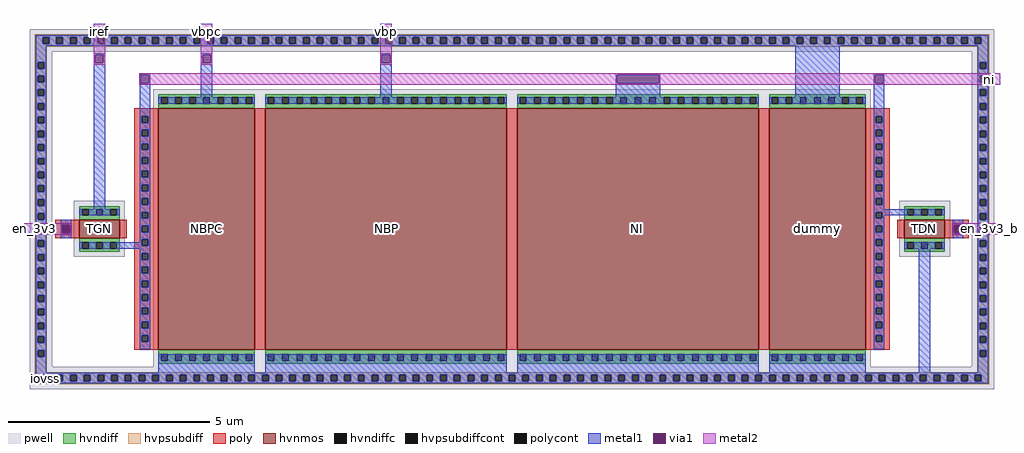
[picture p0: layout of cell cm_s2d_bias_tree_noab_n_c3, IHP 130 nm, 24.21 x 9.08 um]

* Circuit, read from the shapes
.subckt cm_s2d_bias_tree_noab_n_c3 iovss ni vbpc vbp iref en_3v3 en_3v3_b
XM1 iref en_3v3 ni iovss sg13_hv_nmos w=1u l=0.45u
XM2 vbpc ni iovss iovss sg13_hv_nmos w=2.4u l=6u
XM3 vbp ni iovss iovss sg13_hv_nmos w=6u l=6u
XM4 ni ni iovss iovss sg13_hv_nmos w=6u l=6u
XM5 iovss ni iovss iovss sg13_hv_nmos w=2.4u l=6u
XM6 ni en_3v3_b iovss iovss sg13_hv_nmos w=1u l=0.45u
.ends

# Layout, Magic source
magic
tech ihp-sg13cmos5l
magscale 1 2
<< pwell >>
rect -638 1547 4148 1659
rect -638 -16 -526 1547
rect 4036 -16 4148 1547
rect -638 -128 4148 -16
<< hvpsubdiff >>
rect -612 1619 4122 1633
rect -612 1587 -573 1619
rect -541 1587 -505 1619
rect -473 1587 -437 1619
rect -405 1587 -369 1619
rect -337 1587 -301 1619
rect -269 1587 -233 1619
rect -201 1587 -165 1619
rect -133 1587 -97 1619
rect -65 1587 -29 1619
rect 3 1587 39 1619
rect 71 1587 107 1619
rect 139 1587 175 1619
rect 207 1587 243 1619
rect 275 1587 311 1619
rect 343 1587 379 1619
rect 411 1587 447 1619
rect 479 1587 515 1619
rect 547 1587 583 1619
rect 615 1587 651 1619
rect 683 1587 719 1619
rect 751 1587 787 1619
rect 819 1587 855 1619
rect 887 1587 923 1619
rect 955 1587 991 1619
rect 1023 1587 1059 1619
rect 1091 1587 1127 1619
rect 1159 1587 1195 1619
rect 1227 1587 1263 1619
rect 1295 1587 1331 1619
rect 1363 1587 1399 1619
rect 1431 1587 1467 1619
rect 1499 1587 1535 1619
rect 1567 1587 1603 1619
rect 1635 1587 1671 1619
rect 1703 1587 1739 1619
rect 1771 1587 1807 1619
rect 1839 1587 1875 1619
rect 1907 1587 1943 1619
rect 1975 1587 2011 1619
rect 2043 1587 2079 1619
rect 2111 1587 2147 1619
rect 2179 1587 2215 1619
rect 2247 1587 2283 1619
rect 2315 1587 2351 1619
rect 2383 1587 2419 1619
rect 2451 1587 2487 1619
rect 2519 1587 2555 1619
rect 2587 1587 2623 1619
rect 2655 1587 2691 1619
rect 2723 1587 2759 1619
rect 2791 1587 2827 1619
rect 2859 1587 2895 1619
rect 2927 1587 2963 1619
rect 2995 1587 3031 1619
rect 3063 1587 3099 1619
rect 3131 1587 3167 1619
rect 3199 1587 3235 1619
rect 3267 1587 3303 1619
rect 3335 1587 3371 1619
rect 3403 1587 3439 1619
rect 3471 1587 3507 1619
rect 3539 1587 3575 1619
rect 3607 1587 3643 1619
rect 3675 1587 3711 1619
rect 3743 1587 3779 1619
rect 3811 1587 3847 1619
rect 3879 1587 3915 1619
rect 3947 1587 3983 1619
rect 4015 1587 4051 1619
rect 4083 1587 4122 1619
rect -612 1573 4122 1587
rect -612 1496 -552 1573
rect -612 1464 -598 1496
rect -566 1464 -552 1496
rect -612 1428 -552 1464
rect -612 1396 -598 1428
rect -566 1396 -552 1428
rect -612 1360 -552 1396
rect -612 1328 -598 1360
rect -566 1328 -552 1360
rect -612 1292 -552 1328
rect -612 1260 -598 1292
rect -566 1260 -552 1292
rect 4062 1496 4122 1573
rect 4062 1464 4076 1496
rect 4108 1464 4122 1496
rect 4062 1428 4122 1464
rect 4062 1396 4076 1428
rect 4108 1396 4122 1428
rect 4062 1360 4122 1396
rect 4062 1328 4076 1360
rect 4108 1328 4122 1360
rect 4062 1292 4122 1328
rect -612 1224 -552 1260
rect -612 1192 -598 1224
rect -566 1192 -552 1224
rect -612 1156 -552 1192
rect -612 1124 -598 1156
rect -566 1124 -552 1156
rect -612 1088 -552 1124
rect -612 1056 -598 1088
rect -566 1056 -552 1088
rect -612 1020 -552 1056
rect -612 988 -598 1020
rect -566 988 -552 1020
rect -612 952 -552 988
rect -612 920 -598 952
rect -566 920 -552 952
rect -612 884 -552 920
rect -612 852 -598 884
rect -566 852 -552 884
rect -612 816 -552 852
rect -612 784 -598 816
rect -566 784 -552 816
rect -612 747 -552 784
rect -612 715 -598 747
rect -566 715 -552 747
rect -612 679 -552 715
rect -612 647 -598 679
rect -566 647 -552 679
rect -612 611 -552 647
rect -612 579 -598 611
rect -566 579 -552 611
rect -612 543 -552 579
rect -612 511 -598 543
rect -566 511 -552 543
rect -612 475 -552 511
rect -612 443 -598 475
rect -566 443 -552 475
rect -612 407 -552 443
rect -612 375 -598 407
rect -566 375 -552 407
rect -612 339 -552 375
rect -612 307 -598 339
rect -566 307 -552 339
rect -612 271 -552 307
rect -612 239 -598 271
rect -566 239 -552 271
rect -612 203 -552 239
rect -612 171 -598 203
rect -566 171 -552 203
rect -612 135 -552 171
rect -612 103 -598 135
rect -566 103 -552 135
rect -612 67 -552 103
rect 4062 1260 4076 1292
rect 4108 1260 4122 1292
rect 4062 1224 4122 1260
rect 4062 1192 4076 1224
rect 4108 1192 4122 1224
rect 4062 1156 4122 1192
rect 4062 1124 4076 1156
rect 4108 1124 4122 1156
rect 4062 1088 4122 1124
rect 4062 1056 4076 1088
rect 4108 1056 4122 1088
rect 4062 1020 4122 1056
rect 4062 988 4076 1020
rect 4108 988 4122 1020
rect 4062 952 4122 988
rect 4062 920 4076 952
rect 4108 920 4122 952
rect 4062 884 4122 920
rect 4062 852 4076 884
rect 4108 852 4122 884
rect 4062 816 4122 852
rect 4062 784 4076 816
rect 4108 784 4122 816
rect 4062 747 4122 784
rect 4062 715 4076 747
rect 4108 715 4122 747
rect 4062 679 4122 715
rect 4062 647 4076 679
rect 4108 647 4122 679
rect 4062 611 4122 647
rect 4062 579 4076 611
rect 4108 579 4122 611
rect 4062 543 4122 579
rect 4062 511 4076 543
rect 4108 511 4122 543
rect 4062 475 4122 511
rect 4062 443 4076 475
rect 4108 443 4122 475
rect 4062 407 4122 443
rect 4062 375 4076 407
rect 4108 375 4122 407
rect 4062 339 4122 375
rect 4062 307 4076 339
rect 4108 307 4122 339
rect 4062 271 4122 307
rect 4062 239 4076 271
rect 4108 239 4122 271
rect 4062 203 4122 239
rect 4062 171 4076 203
rect 4108 171 4122 203
rect 4062 135 4122 171
rect 4062 103 4076 135
rect 4108 103 4122 135
rect -612 35 -598 67
rect -566 35 -552 67
rect -612 -42 -552 35
rect 4062 67 4122 103
rect 4062 35 4076 67
rect 4108 35 4122 67
rect 4062 -42 4122 35
rect -612 -56 4122 -42
rect -612 -88 -573 -56
rect -541 -88 -505 -56
rect -473 -88 -437 -56
rect -405 -88 -369 -56
rect -337 -88 -301 -56
rect -269 -88 -233 -56
rect -201 -88 -165 -56
rect -133 -88 -97 -56
rect -65 -88 -29 -56
rect 3 -88 39 -56
rect 71 -88 107 -56
rect 139 -88 175 -56
rect 207 -88 243 -56
rect 275 -88 311 -56
rect 343 -88 379 -56
rect 411 -88 447 -56
rect 479 -88 515 -56
rect 547 -88 583 -56
rect 615 -88 651 -56
rect 683 -88 719 -56
rect 751 -88 787 -56
rect 819 -88 855 -56
rect 887 -88 923 -56
rect 955 -88 991 -56
rect 1023 -88 1059 -56
rect 1091 -88 1127 -56
rect 1159 -88 1195 -56
rect 1227 -88 1263 -56
rect 1295 -88 1331 -56
rect 1363 -88 1399 -56
rect 1431 -88 1467 -56
rect 1499 -88 1535 -56
rect 1567 -88 1603 -56
rect 1635 -88 1671 -56
rect 1703 -88 1739 -56
rect 1771 -88 1807 -56
rect 1839 -88 1875 -56
rect 1907 -88 1943 -56
rect 1975 -88 2011 -56
rect 2043 -88 2079 -56
rect 2111 -88 2147 -56
rect 2179 -88 2215 -56
rect 2247 -88 2283 -56
rect 2315 -88 2351 -56
rect 2383 -88 2419 -56
rect 2451 -88 2487 -56
rect 2519 -88 2555 -56
rect 2587 -88 2623 -56
rect 2655 -88 2691 -56
rect 2723 -88 2759 -56
rect 2791 -88 2827 -56
rect 2859 -88 2895 -56
rect 2927 -88 2963 -56
rect 2995 -88 3031 -56
rect 3063 -88 3099 -56
rect 3131 -88 3167 -56
rect 3199 -88 3235 -56
rect 3267 -88 3303 -56
rect 3335 -88 3371 -56
rect 3403 -88 3439 -56
rect 3471 -88 3507 -56
rect 3539 -88 3575 -56
rect 3607 -88 3643 -56
rect 3675 -88 3711 -56
rect 3743 -88 3779 -56
rect 3811 -88 3847 -56
rect 3879 -88 3915 -56
rect 3947 -88 3983 -56
rect 4015 -88 4051 -56
rect 4083 -88 4122 -56
rect -612 -102 4122 -88
<< hvpsubdiffcont >>
rect -573 1587 -541 1619
rect -505 1587 -473 1619
rect -437 1587 -405 1619
rect -369 1587 -337 1619
rect -301 1587 -269 1619
rect -233 1587 -201 1619
rect -165 1587 -133 1619
rect -97 1587 -65 1619
rect -29 1587 3 1619
rect 39 1587 71 1619
rect 107 1587 139 1619
rect 175 1587 207 1619
rect 243 1587 275 1619
rect 311 1587 343 1619
rect 379 1587 411 1619
rect 447 1587 479 1619
rect 515 1587 547 1619
rect 583 1587 615 1619
rect 651 1587 683 1619
rect 719 1587 751 1619
rect 787 1587 819 1619
rect 855 1587 887 1619
rect 923 1587 955 1619
rect 991 1587 1023 1619
rect 1059 1587 1091 1619
rect 1127 1587 1159 1619
rect 1195 1587 1227 1619
rect 1263 1587 1295 1619
rect 1331 1587 1363 1619
rect 1399 1587 1431 1619
rect 1467 1587 1499 1619
rect 1535 1587 1567 1619
rect 1603 1587 1635 1619
rect 1671 1587 1703 1619
rect 1739 1587 1771 1619
rect 1807 1587 1839 1619
rect 1875 1587 1907 1619
rect 1943 1587 1975 1619
rect 2011 1587 2043 1619
rect 2079 1587 2111 1619
rect 2147 1587 2179 1619
rect 2215 1587 2247 1619
rect 2283 1587 2315 1619
rect 2351 1587 2383 1619
rect 2419 1587 2451 1619
rect 2487 1587 2519 1619
rect 2555 1587 2587 1619
rect 2623 1587 2655 1619
rect 2691 1587 2723 1619
rect 2759 1587 2791 1619
rect 2827 1587 2859 1619
rect 2895 1587 2927 1619
rect 2963 1587 2995 1619
rect 3031 1587 3063 1619
rect 3099 1587 3131 1619
rect 3167 1587 3199 1619
rect 3235 1587 3267 1619
rect 3303 1587 3335 1619
rect 3371 1587 3403 1619
rect 3439 1587 3471 1619
rect 3507 1587 3539 1619
rect 3575 1587 3607 1619
rect 3643 1587 3675 1619
rect 3711 1587 3743 1619
rect 3779 1587 3811 1619
rect 3847 1587 3879 1619
rect 3915 1587 3947 1619
rect 3983 1587 4015 1619
rect 4051 1587 4083 1619
rect -598 1464 -566 1496
rect -598 1396 -566 1428
rect -598 1328 -566 1360
rect -598 1260 -566 1292
rect 4076 1464 4108 1496
rect 4076 1396 4108 1428
rect 4076 1328 4108 1360
rect -598 1192 -566 1224
rect -598 1124 -566 1156
rect -598 1056 -566 1088
rect -598 988 -566 1020
rect -598 920 -566 952
rect -598 852 -566 884
rect -598 784 -566 816
rect -598 715 -566 747
rect -598 647 -566 679
rect -598 579 -566 611
rect -598 511 -566 543
rect -598 443 -566 475
rect -598 375 -566 407
rect -598 307 -566 339
rect -598 239 -566 271
rect -598 171 -566 203
rect -598 103 -566 135
rect 4076 1260 4108 1292
rect 4076 1192 4108 1224
rect 4076 1124 4108 1156
rect 4076 1056 4108 1088
rect 4076 988 4108 1020
rect 4076 920 4108 952
rect 4076 852 4108 884
rect 4076 784 4108 816
rect 4076 715 4108 747
rect 4076 647 4108 679
rect 4076 579 4108 611
rect 4076 511 4108 543
rect 4076 443 4108 475
rect 4076 375 4108 407
rect 4076 307 4108 339
rect 4076 239 4108 271
rect 4076 171 4108 203
rect 4076 103 4108 135
rect -598 35 -566 67
rect 4076 35 4108 67
rect -573 -88 -541 -56
rect -505 -88 -473 -56
rect -437 -88 -405 -56
rect -369 -88 -337 -56
rect -301 -88 -269 -56
rect -233 -88 -201 -56
rect -165 -88 -133 -56
rect -97 -88 -65 -56
rect -29 -88 3 -56
rect 39 -88 71 -56
rect 107 -88 139 -56
rect 175 -88 207 -56
rect 243 -88 275 -56
rect 311 -88 343 -56
rect 379 -88 411 -56
rect 447 -88 479 -56
rect 515 -88 547 -56
rect 583 -88 615 -56
rect 651 -88 683 -56
rect 719 -88 751 -56
rect 787 -88 819 -56
rect 855 -88 887 -56
rect 923 -88 955 -56
rect 991 -88 1023 -56
rect 1059 -88 1091 -56
rect 1127 -88 1159 -56
rect 1195 -88 1227 -56
rect 1263 -88 1295 -56
rect 1331 -88 1363 -56
rect 1399 -88 1431 -56
rect 1467 -88 1499 -56
rect 1535 -88 1567 -56
rect 1603 -88 1635 -56
rect 1671 -88 1703 -56
rect 1739 -88 1771 -56
rect 1807 -88 1839 -56
rect 1875 -88 1907 -56
rect 1943 -88 1975 -56
rect 2011 -88 2043 -56
rect 2079 -88 2111 -56
rect 2147 -88 2179 -56
rect 2215 -88 2247 -56
rect 2283 -88 2315 -56
rect 2351 -88 2383 -56
rect 2419 -88 2451 -56
rect 2487 -88 2519 -56
rect 2555 -88 2587 -56
rect 2623 -88 2655 -56
rect 2691 -88 2723 -56
rect 2759 -88 2791 -56
rect 2827 -88 2859 -56
rect 2895 -88 2927 -56
rect 2963 -88 2995 -56
rect 3031 -88 3063 -56
rect 3099 -88 3131 -56
rect 3167 -88 3199 -56
rect 3235 -88 3267 -56
rect 3303 -88 3335 -56
rect 3371 -88 3403 -56
rect 3439 -88 3471 -56
rect 3507 -88 3539 -56
rect 3575 -88 3607 -56
rect 3643 -88 3675 -56
rect 3711 -88 3743 -56
rect 3779 -88 3811 -56
rect 3847 -88 3879 -56
rect 3915 -88 3947 -56
rect 3983 -88 4015 -56
rect 4051 -88 4083 -56
<< poly >>
rect -120 1228 -20 1268
rect -120 1196 -82 1228
rect -50 1196 -20 1228
rect -120 1160 -20 1196
rect -120 1128 -82 1160
rect -50 1128 -20 1160
rect -120 1092 -20 1128
rect -120 1060 -82 1092
rect -50 1060 -20 1092
rect -120 1024 -20 1060
rect -120 992 -82 1024
rect -50 992 -20 1024
rect -120 956 -20 992
rect -120 924 -82 956
rect -50 924 -20 956
rect -120 888 -20 924
rect -120 856 -82 888
rect -50 856 -20 888
rect -120 820 -20 856
rect -120 788 -82 820
rect -50 788 -20 820
rect -120 752 -20 788
rect -120 720 -82 752
rect -50 720 -20 752
rect -512 684 -412 713
rect -512 652 -474 684
rect -442 652 -412 684
rect -512 623 -412 652
rect -120 684 -20 720
rect -120 652 -82 684
rect -50 652 -20 684
rect -120 616 -20 652
rect -120 584 -82 616
rect -50 584 -20 616
rect -120 548 -20 584
rect -120 516 -82 548
rect -50 516 -20 548
rect -120 480 -20 516
rect -120 448 -82 480
rect -50 448 -20 480
rect -120 412 -20 448
rect -120 380 -82 412
rect -50 380 -20 412
rect -120 344 -20 380
rect -120 312 -82 344
rect -50 312 -20 344
rect -120 276 -20 312
rect -120 244 -82 276
rect -50 244 -20 276
rect -120 208 -20 244
rect -120 176 -82 208
rect -50 176 -20 208
rect -120 140 -20 176
rect -120 108 -82 140
rect -50 108 -20 140
rect -120 68 -20 108
rect 3530 1228 3630 1268
rect 3530 1196 3560 1228
rect 3592 1196 3630 1228
rect 3530 1160 3630 1196
rect 3530 1128 3560 1160
rect 3592 1128 3630 1160
rect 3530 1092 3630 1128
rect 3530 1060 3560 1092
rect 3592 1060 3630 1092
rect 3530 1024 3630 1060
rect 3530 992 3560 1024
rect 3592 992 3630 1024
rect 3530 956 3630 992
rect 3530 924 3560 956
rect 3592 924 3630 956
rect 3530 888 3630 924
rect 3530 856 3560 888
rect 3592 856 3630 888
rect 3530 820 3630 856
rect 3530 788 3560 820
rect 3592 788 3630 820
rect 3530 752 3630 788
rect 3530 720 3560 752
rect 3592 720 3630 752
rect 3530 684 3630 720
rect 3530 652 3560 684
rect 3592 652 3630 684
rect 3530 616 3630 652
rect 3922 684 4022 713
rect 3922 652 3952 684
rect 3984 652 4022 684
rect 3922 623 4022 652
rect 3530 584 3560 616
rect 3592 584 3630 616
rect 3530 548 3630 584
rect 3530 516 3560 548
rect 3592 516 3630 548
rect 3530 480 3630 516
rect 3530 448 3560 480
rect 3592 448 3630 480
rect 3530 412 3630 448
rect 3530 380 3560 412
rect 3592 380 3630 412
rect 3530 344 3630 380
rect 3530 312 3560 344
rect 3592 312 3630 344
rect 3530 276 3630 312
rect 3530 244 3560 276
rect 3592 244 3630 276
rect 3530 208 3630 244
rect 3530 176 3560 208
rect 3592 176 3630 208
rect 3530 140 3630 176
rect 3530 108 3560 140
rect 3592 108 3630 140
rect 3530 68 3630 108
<< polycont >>
rect -82 1196 -50 1228
rect -82 1128 -50 1160
rect -82 1060 -50 1092
rect -82 992 -50 1024
rect -82 924 -50 956
rect -82 856 -50 888
rect -82 788 -50 820
rect -82 720 -50 752
rect -474 652 -442 684
rect -82 652 -50 684
rect -82 584 -50 616
rect -82 516 -50 548
rect -82 448 -50 480
rect -82 380 -50 412
rect -82 312 -50 344
rect -82 244 -50 276
rect -82 176 -50 208
rect -82 108 -50 140
rect 3560 1196 3592 1228
rect 3560 1128 3592 1160
rect 3560 1060 3592 1092
rect 3560 992 3592 1024
rect 3560 924 3592 956
rect 3560 856 3592 888
rect 3560 788 3592 820
rect 3560 720 3592 752
rect 3560 652 3592 684
rect 3952 652 3984 684
rect 3560 584 3592 616
rect 3560 516 3592 548
rect 3560 448 3592 480
rect 3560 380 3592 412
rect 3560 312 3592 344
rect 3560 244 3592 276
rect 3560 176 3592 208
rect 3560 108 3592 140
<< metal1 >>
rect -608 1619 4118 1629
rect -608 1587 -573 1619
rect -541 1587 -505 1619
rect -473 1587 -437 1619
rect -405 1587 -369 1619
rect -337 1587 -301 1619
rect -269 1587 -233 1619
rect -201 1587 -165 1619
rect -133 1587 -97 1619
rect -65 1587 -29 1619
rect 3 1587 39 1619
rect 71 1587 107 1619
rect 139 1587 175 1619
rect 207 1587 243 1619
rect 275 1587 311 1619
rect 343 1587 379 1619
rect 411 1587 447 1619
rect 479 1587 515 1619
rect 547 1587 583 1619
rect 615 1587 651 1619
rect 683 1587 719 1619
rect 751 1587 787 1619
rect 819 1587 855 1619
rect 887 1587 923 1619
rect 955 1587 991 1619
rect 1023 1587 1059 1619
rect 1091 1587 1127 1619
rect 1159 1587 1195 1619
rect 1227 1587 1263 1619
rect 1295 1587 1331 1619
rect 1363 1587 1399 1619
rect 1431 1587 1467 1619
rect 1499 1587 1535 1619
rect 1567 1587 1603 1619
rect 1635 1587 1671 1619
rect 1703 1587 1739 1619
rect 1771 1587 1807 1619
rect 1839 1587 1875 1619
rect 1907 1587 1943 1619
rect 1975 1587 2011 1619
rect 2043 1587 2079 1619
rect 2111 1587 2147 1619
rect 2179 1587 2215 1619
rect 2247 1587 2283 1619
rect 2315 1587 2351 1619
rect 2383 1587 2419 1619
rect 2451 1587 2487 1619
rect 2519 1587 2555 1619
rect 2587 1587 2623 1619
rect 2655 1587 2691 1619
rect 2723 1587 2759 1619
rect 2791 1587 2827 1619
rect 2859 1587 2895 1619
rect 2927 1587 2963 1619
rect 2995 1587 3031 1619
rect 3063 1587 3099 1619
rect 3131 1587 3167 1619
rect 3199 1587 3235 1619
rect 3267 1587 3303 1619
rect 3335 1587 3371 1619
rect 3403 1587 3439 1619
rect 3471 1587 3507 1619
rect 3539 1587 3575 1619
rect 3607 1587 3643 1619
rect 3675 1587 3711 1619
rect 3743 1587 3779 1619
rect 3811 1587 3847 1619
rect 3879 1587 3915 1619
rect 3947 1587 3983 1619
rect 4015 1587 4051 1619
rect 4083 1587 4118 1619
rect -608 1577 4118 1587
rect -608 1496 -556 1577
rect -608 1464 -598 1496
rect -566 1464 -556 1496
rect -608 1428 -556 1464
rect -608 1396 -598 1428
rect -566 1396 -556 1428
rect -608 1360 -556 1396
rect -608 1328 -598 1360
rect -566 1328 -556 1360
rect -608 1292 -556 1328
rect -608 1260 -598 1292
rect -566 1260 -556 1292
rect -608 1224 -556 1260
rect -608 1192 -598 1224
rect -566 1192 -556 1224
rect -608 1156 -556 1192
rect -608 1124 -598 1156
rect -566 1124 -556 1156
rect -608 1088 -556 1124
rect -608 1056 -598 1088
rect -566 1056 -556 1088
rect -608 1020 -556 1056
rect -608 988 -598 1020
rect -566 988 -556 1020
rect -608 952 -556 988
rect -608 920 -598 952
rect -566 920 -556 952
rect -608 884 -556 920
rect -608 852 -598 884
rect -566 852 -556 884
rect -608 816 -556 852
rect -608 784 -598 816
rect -566 784 -556 816
rect -608 747 -556 784
rect -608 715 -598 747
rect -566 715 -556 747
rect -321 1532 -263 1541
rect -321 1492 -312 1532
rect -272 1492 -263 1532
rect -321 735 -263 1492
rect 211 1532 269 1541
rect 211 1492 220 1532
rect 260 1492 269 1532
rect -92 1432 -40 1441
rect -92 1392 -86 1432
rect -46 1392 -40 1432
rect -92 1228 -40 1392
rect 211 1290 269 1492
rect 1101 1532 1159 1541
rect 1101 1492 1110 1532
rect 1150 1492 1159 1532
rect 1101 1290 1159 1492
rect 2269 1432 2491 1441
rect 2269 1392 2278 1432
rect 2482 1392 2491 1432
rect 2269 1290 2491 1392
rect 3159 1290 3381 1577
rect 4066 1496 4118 1577
rect 4066 1464 4076 1496
rect 4108 1464 4118 1496
rect 3550 1432 3602 1441
rect 3550 1392 3556 1432
rect 3596 1392 3602 1432
rect -92 1196 -82 1228
rect -50 1196 -40 1228
rect -92 1160 -40 1196
rect -92 1128 -82 1160
rect -50 1128 -40 1160
rect -92 1092 -40 1128
rect -92 1060 -82 1092
rect -50 1060 -40 1092
rect -92 1024 -40 1060
rect -92 992 -82 1024
rect -50 992 -40 1024
rect -92 956 -40 992
rect -92 924 -82 956
rect -50 924 -40 956
rect -92 888 -40 924
rect -92 856 -82 888
rect -50 856 -40 888
rect -92 820 -40 856
rect -92 788 -82 820
rect -50 788 -40 820
rect -92 752 -40 788
rect -608 679 -556 715
rect -92 720 -82 752
rect -50 720 -40 752
rect -608 647 -598 679
rect -566 647 -556 679
rect -608 611 -556 647
rect -484 688 -432 713
rect -484 648 -478 688
rect -438 648 -432 688
rect -484 623 -432 648
rect -92 684 -40 720
rect -92 652 -82 684
rect -50 652 -40 684
rect -608 579 -598 611
rect -566 579 -556 611
rect -92 616 -40 652
rect -92 601 -82 616
rect -608 543 -556 579
rect -212 584 -82 601
rect -50 584 -40 616
rect -212 569 -40 584
rect -608 511 -598 543
rect -566 511 -556 543
rect -608 475 -556 511
rect -608 443 -598 475
rect -566 443 -556 475
rect -608 407 -556 443
rect -608 375 -598 407
rect -566 375 -556 407
rect -608 339 -556 375
rect -608 307 -598 339
rect -566 307 -556 339
rect -608 271 -556 307
rect -608 239 -598 271
rect -566 239 -556 271
rect -608 203 -556 239
rect -608 171 -598 203
rect -566 171 -556 203
rect -608 135 -556 171
rect -608 103 -598 135
rect -566 103 -556 135
rect -608 67 -556 103
rect -92 548 -40 569
rect -92 516 -82 548
rect -50 516 -40 548
rect -92 480 -40 516
rect -92 448 -82 480
rect -50 448 -40 480
rect -92 412 -40 448
rect -92 380 -82 412
rect -50 380 -40 412
rect -92 344 -40 380
rect -92 312 -82 344
rect -50 312 -40 344
rect -92 276 -40 312
rect -92 244 -82 276
rect -50 244 -40 276
rect -92 208 -40 244
rect -92 176 -82 208
rect -50 176 -40 208
rect -92 140 -40 176
rect -92 108 -82 140
rect -50 108 -40 140
rect -92 72 -40 108
rect 3550 1228 3602 1392
rect 3550 1196 3560 1228
rect 3592 1196 3602 1228
rect 3550 1160 3602 1196
rect 3550 1128 3560 1160
rect 3592 1128 3602 1160
rect 3550 1092 3602 1128
rect 3550 1060 3560 1092
rect 3592 1060 3602 1092
rect 3550 1024 3602 1060
rect 3550 992 3560 1024
rect 3592 992 3602 1024
rect 3550 956 3602 992
rect 3550 924 3560 956
rect 3592 924 3602 956
rect 3550 888 3602 924
rect 3550 856 3560 888
rect 3592 856 3602 888
rect 3550 820 3602 856
rect 3550 788 3560 820
rect 3592 788 3602 820
rect 3550 767 3602 788
rect 4066 1428 4118 1464
rect 4066 1396 4076 1428
rect 4108 1396 4118 1428
rect 4066 1360 4118 1396
rect 4066 1328 4076 1360
rect 4108 1328 4118 1360
rect 4066 1292 4118 1328
rect 4066 1260 4076 1292
rect 4108 1260 4118 1292
rect 4066 1224 4118 1260
rect 4066 1192 4076 1224
rect 4108 1192 4118 1224
rect 4066 1156 4118 1192
rect 4066 1124 4076 1156
rect 4108 1124 4118 1156
rect 4066 1088 4118 1124
rect 4066 1056 4076 1088
rect 4108 1056 4118 1088
rect 4066 1020 4118 1056
rect 4066 988 4076 1020
rect 4108 988 4118 1020
rect 4066 952 4118 988
rect 4066 920 4076 952
rect 4108 920 4118 952
rect 4066 884 4118 920
rect 4066 852 4076 884
rect 4108 852 4118 884
rect 4066 816 4118 852
rect 4066 784 4076 816
rect 4108 784 4118 816
rect 3550 752 3722 767
rect 3550 720 3560 752
rect 3592 735 3722 752
rect 4066 747 4118 784
rect 3592 720 3602 735
rect 3550 684 3602 720
rect 4066 715 4076 747
rect 4108 715 4118 747
rect 3550 652 3560 684
rect 3592 652 3602 684
rect 3550 616 3602 652
rect 3942 688 3994 713
rect 3942 648 3948 688
rect 3988 648 3994 688
rect 3942 623 3994 648
rect 4066 679 4118 715
rect 4066 647 4076 679
rect 4108 647 4118 679
rect 3550 584 3560 616
rect 3592 584 3602 616
rect 4066 611 4118 647
rect 3550 548 3602 584
rect 3550 516 3560 548
rect 3592 516 3602 548
rect 3550 480 3602 516
rect 3550 448 3560 480
rect 3592 448 3602 480
rect 3550 412 3602 448
rect 3550 380 3560 412
rect 3592 380 3602 412
rect 3550 344 3602 380
rect 3550 312 3560 344
rect 3592 312 3602 344
rect 3550 276 3602 312
rect 3550 244 3560 276
rect 3592 244 3602 276
rect 3550 208 3602 244
rect 3550 176 3560 208
rect 3592 176 3602 208
rect 3550 140 3602 176
rect 3550 108 3560 140
rect 3592 108 3602 140
rect 3550 72 3602 108
rect -608 35 -598 67
rect -566 35 -556 67
rect -608 -46 -556 35
rect 0 -46 480 46
rect 530 -46 1730 46
rect 1780 -46 2980 46
rect 3030 -46 3510 46
rect 3773 -46 3831 601
rect 4066 579 4076 611
rect 4108 579 4118 611
rect 4066 543 4118 579
rect 4066 511 4076 543
rect 4108 511 4118 543
rect 4066 475 4118 511
rect 4066 443 4076 475
rect 4108 443 4118 475
rect 4066 407 4118 443
rect 4066 375 4076 407
rect 4108 375 4118 407
rect 4066 339 4118 375
rect 4066 307 4076 339
rect 4108 307 4118 339
rect 4066 271 4118 307
rect 4066 239 4076 271
rect 4108 239 4118 271
rect 4066 203 4118 239
rect 4066 171 4076 203
rect 4108 171 4118 203
rect 4066 135 4118 171
rect 4066 103 4076 135
rect 4108 103 4118 135
rect 4066 67 4118 103
rect 4066 35 4076 67
rect 4108 35 4118 67
rect 4066 -46 4118 35
rect -608 -56 4118 -46
rect -608 -88 -573 -56
rect -541 -88 -505 -56
rect -473 -88 -437 -56
rect -405 -88 -369 -56
rect -337 -88 -301 -56
rect -269 -88 -233 -56
rect -201 -88 -165 -56
rect -133 -88 -97 -56
rect -65 -88 -29 -56
rect 3 -88 39 -56
rect 71 -88 107 -56
rect 139 -88 175 -56
rect 207 -88 243 -56
rect 275 -88 311 -56
rect 343 -88 379 -56
rect 411 -88 447 -56
rect 479 -88 515 -56
rect 547 -88 583 -56
rect 615 -88 651 -56
rect 683 -88 719 -56
rect 751 -88 787 -56
rect 819 -88 855 -56
rect 887 -88 923 -56
rect 955 -88 991 -56
rect 1023 -88 1059 -56
rect 1091 -88 1127 -56
rect 1159 -88 1195 -56
rect 1227 -88 1263 -56
rect 1295 -88 1331 -56
rect 1363 -88 1399 -56
rect 1431 -88 1467 -56
rect 1499 -88 1535 -56
rect 1567 -88 1603 -56
rect 1635 -88 1671 -56
rect 1703 -88 1739 -56
rect 1771 -88 1807 -56
rect 1839 -88 1875 -56
rect 1907 -88 1943 -56
rect 1975 -88 2011 -56
rect 2043 -88 2079 -56
rect 2111 -88 2147 -56
rect 2179 -88 2215 -56
rect 2247 -88 2283 -56
rect 2315 -88 2351 -56
rect 2383 -88 2419 -56
rect 2451 -88 2487 -56
rect 2519 -88 2555 -56
rect 2587 -88 2623 -56
rect 2655 -88 2691 -56
rect 2723 -88 2759 -56
rect 2791 -88 2827 -56
rect 2859 -88 2895 -56
rect 2927 -88 2963 -56
rect 2995 -88 3031 -56
rect 3063 -88 3099 -56
rect 3131 -88 3167 -56
rect 3199 -88 3235 -56
rect 3267 -88 3303 -56
rect 3335 -88 3371 -56
rect 3403 -88 3439 -56
rect 3471 -88 3507 -56
rect 3539 -88 3575 -56
rect 3607 -88 3643 -56
rect 3675 -88 3711 -56
rect 3743 -88 3779 -56
rect 3811 -88 3847 -56
rect 3879 -88 3915 -56
rect 3947 -88 3983 -56
rect 4015 -88 4051 -56
rect 4083 -88 4118 -56
rect -608 -98 4118 -88
<< via1 >>
rect -312 1492 -272 1532
rect 220 1492 260 1532
rect -86 1392 -46 1432
rect 1110 1492 1150 1532
rect 2278 1392 2482 1432
rect 3556 1392 3596 1432
rect -478 684 -438 688
rect -478 652 -474 684
rect -474 652 -442 684
rect -442 652 -438 684
rect -478 648 -438 652
rect 3948 684 3988 688
rect 3948 652 3952 684
rect 3952 652 3984 684
rect 3984 652 3988 684
rect 3948 648 3988 652
<< metal2 >>
rect -321 1532 -263 1687
rect -321 1492 -312 1532
rect -272 1492 -263 1532
rect -321 1483 -263 1492
rect 211 1532 269 1687
rect 211 1492 220 1532
rect 260 1492 269 1532
rect 211 1483 269 1492
rect 1101 1532 1159 1687
rect 1101 1492 1110 1532
rect 1150 1492 1159 1532
rect 1101 1483 1159 1492
rect -95 1432 4176 1441
rect -95 1392 -86 1432
rect -46 1392 2278 1432
rect 2482 1392 3556 1432
rect 3596 1392 4176 1432
rect -95 1383 4176 1392
rect -666 688 -429 697
rect -666 648 -478 688
rect -438 648 -429 688
rect -666 639 -429 648
rect 3939 688 4176 697
rect 3939 648 3948 688
rect 3988 648 4176 688
rect 3939 639 4176 648
use cm_s2d_nmosHV_1  cm_s2d_nmosHV_1_0
transform 0 -1 2980 -1 0 1336
box -26 -36 1362 1236
use cm_s2d_nmosHV_1  cm_s2d_nmosHV_1_1
transform 0 1 530 -1 0 1336
box -26 -36 1362 1236
use cm_s2d_nmosHV_5  cm_s2d_nmosHV_5_0
transform 0 -1 3902 -1 0 781
box -26 -36 252 236
use cm_s2d_nmosHV_5  cm_s2d_nmosHV_5_1
transform 0 1 -392 -1 0 781
box -26 -36 252 236
use cm_s2d_nmosHV_7  cm_s2d_nmosHV_7_0
transform 0 -1 3510 -1 0 1336
box -26 -36 1362 516
use cm_s2d_nmosHV_7  cm_s2d_nmosHV_7_1
transform 0 1 0 -1 0 1336
box -26 -36 1362 516
<< labels >>
rlabel comment s 240 668 240 668 4 NBPC
rlabel comment s 1130 668 1130 668 4 NBP
rlabel comment s 2380 668 2380 668 4 NI
rlabel comment s 3270 668 3270 668 4 dummy
rlabel comment s -292 668 -292 668 4 TGN
rlabel comment s 3802 668 3802 668 4 TDN
rlabel metal1 s -608 -98 -508 -46 4 iovss
port 1 nsew
rlabel metal2 s 4076 1383 4176 1441 4 ni
port 3 nsew
rlabel metal2 s 211 1607 269 1687 4 vbpc
port 4 nsew
rlabel metal2 s 1101 1607 1159 1687 4 vbp
port 5 nsew
rlabel metal2 s -321 1607 -263 1687 4 iref
port 6 nsew
rlabel metal2 s -666 639 -566 697 4 en_3v3
port 7 nsew
rlabel metal2 s 4076 639 4176 697 4 en_3v3_b
port 8 nsew
<< properties >>
string GDS_END 284896
string GDS_FILE custom_io/gds/sg13cmos5l_IOPadSingle2Diff.uniq.gds
string GDS_START 266482
<< end >>

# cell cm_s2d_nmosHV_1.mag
magic
tech ihp-sg13cmos5l
magscale 1 2
<< pwell >>
rect -26 -26 1362 1226
<< hvnmos >>
rect 68 0 1268 1200
<< hvndiff >>
rect 0 1186 68 1200
rect 0 1154 14 1186
rect 46 1154 68 1186
rect 0 1114 68 1154
rect 0 1082 14 1114
rect 46 1082 68 1114
rect 0 1043 68 1082
rect 0 1011 14 1043
rect 46 1011 68 1043
rect 0 972 68 1011
rect 0 940 14 972
rect 46 940 68 972
rect 0 901 68 940
rect 0 869 14 901
rect 46 869 68 901
rect 0 829 68 869
rect 0 797 14 829
rect 46 797 68 829
rect 0 758 68 797
rect 0 726 14 758
rect 46 726 68 758
rect 0 687 68 726
rect 0 655 14 687
rect 46 655 68 687
rect 0 616 68 655
rect 0 584 14 616
rect 46 584 68 616
rect 0 544 68 584
rect 0 512 14 544
rect 46 512 68 544
rect 0 473 68 512
rect 0 441 14 473
rect 46 441 68 473
rect 0 402 68 441
rect 0 370 14 402
rect 46 370 68 402
rect 0 331 68 370
rect 0 299 14 331
rect 46 299 68 331
rect 0 259 68 299
rect 0 227 14 259
rect 46 227 68 259
rect 0 188 68 227
rect 0 156 14 188
rect 46 156 68 188
rect 0 117 68 156
rect 0 85 14 117
rect 46 85 68 117
rect 0 46 68 85
rect 0 14 14 46
rect 46 14 68 46
rect 0 0 68 14
rect 1268 1186 1336 1200
rect 1268 1154 1290 1186
rect 1322 1154 1336 1186
rect 1268 1114 1336 1154
rect 1268 1082 1290 1114
rect 1322 1082 1336 1114
rect 1268 1043 1336 1082
rect 1268 1011 1290 1043
rect 1322 1011 1336 1043
rect 1268 972 1336 1011
rect 1268 940 1290 972
rect 1322 940 1336 972
rect 1268 901 1336 940
rect 1268 869 1290 901
rect 1322 869 1336 901
rect 1268 829 1336 869
rect 1268 797 1290 829
rect 1322 797 1336 829
rect 1268 758 1336 797
rect 1268 726 1290 758
rect 1322 726 1336 758
rect 1268 687 1336 726
rect 1268 655 1290 687
rect 1322 655 1336 687
rect 1268 616 1336 655
rect 1268 584 1290 616
rect 1322 584 1336 616
rect 1268 544 1336 584
rect 1268 512 1290 544
rect 1322 512 1336 544
rect 1268 473 1336 512
rect 1268 441 1290 473
rect 1322 441 1336 473
rect 1268 402 1336 441
rect 1268 370 1290 402
rect 1322 370 1336 402
rect 1268 331 1336 370
rect 1268 299 1290 331
rect 1322 299 1336 331
rect 1268 259 1336 299
rect 1268 227 1290 259
rect 1322 227 1336 259
rect 1268 188 1336 227
rect 1268 156 1290 188
rect 1322 156 1336 188
rect 1268 117 1336 156
rect 1268 85 1290 117
rect 1322 85 1336 117
rect 1268 46 1336 85
rect 1268 14 1290 46
rect 1322 14 1336 46
rect 1268 0 1336 14
<< hvndiffc >>
rect 14 1154 46 1186
rect 14 1082 46 1114
rect 14 1011 46 1043
rect 14 940 46 972
rect 14 869 46 901
rect 14 797 46 829
rect 14 726 46 758
rect 14 655 46 687
rect 14 584 46 616
rect 14 512 46 544
rect 14 441 46 473
rect 14 370 46 402
rect 14 299 46 331
rect 14 227 46 259
rect 14 156 46 188
rect 14 85 46 117
rect 14 14 46 46
rect 1290 1154 1322 1186
rect 1290 1082 1322 1114
rect 1290 1011 1322 1043
rect 1290 940 1322 972
rect 1290 869 1322 901
rect 1290 797 1322 829
rect 1290 726 1322 758
rect 1290 655 1322 687
rect 1290 584 1322 616
rect 1290 512 1322 544
rect 1290 441 1322 473
rect 1290 370 1322 402
rect 1290 299 1322 331
rect 1290 227 1322 259
rect 1290 156 1322 188
rect 1290 85 1322 117
rect 1290 14 1322 46
<< poly >>
rect 68 1200 1268 1236
rect 68 -36 1268 0
<< metal1 >>
rect 14 1186 46 1200
rect 14 1114 46 1154
rect 14 1043 46 1082
rect 14 972 46 1011
rect 14 901 46 940
rect 14 829 46 869
rect 14 758 46 797
rect 14 687 46 726
rect 14 616 46 655
rect 14 544 46 584
rect 14 473 46 512
rect 14 402 46 441
rect 14 331 46 370
rect 14 259 46 299
rect 14 188 46 227
rect 14 117 46 156
rect 14 46 46 85
rect 14 0 46 14
rect 1290 1186 1322 1200
rect 1290 1114 1322 1154
rect 1290 1043 1322 1082
rect 1290 972 1322 1011
rect 1290 901 1322 940
rect 1290 829 1322 869
rect 1290 758 1322 797
rect 1290 687 1322 726
rect 1290 616 1322 655
rect 1290 544 1322 584
rect 1290 473 1322 512
rect 1290 402 1322 441
rect 1290 331 1322 370
rect 1290 259 1322 299
rect 1290 188 1322 227
rect 1290 117 1322 156
rect 1290 46 1322 85
rect 1290 0 1322 14
<< labels >>
flabel comment s 668 600 668 600 0 FreeSans 200 90 0 0 nmosHV
<< properties >>
string GDS_END 32698
string GDS_FILE custom_io/gds/sg13cmos5l_IOPadSingle2Diff.uniq.gds
string GDS_START 29670
<< end >>

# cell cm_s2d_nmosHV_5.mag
magic
tech ihp-sg13cmos5l
magscale 1 2
<< pwell >>
rect -26 -26 252 226
<< hvnmos >>
rect 68 0 158 200
<< hvndiff >>
rect 0 186 68 200
rect 0 154 14 186
rect 46 154 68 186
rect 0 116 68 154
rect 0 84 14 116
rect 46 84 68 116
rect 0 46 68 84
rect 0 14 14 46
rect 46 14 68 46
rect 0 0 68 14
rect 158 186 226 200
rect 158 154 180 186
rect 212 154 226 186
rect 158 116 226 154
rect 158 84 180 116
rect 212 84 226 116
rect 158 46 226 84
rect 158 14 180 46
rect 212 14 226 46
rect 158 0 226 14
<< hvndiffc >>
rect 14 154 46 186
rect 14 84 46 116
rect 14 14 46 46
rect 180 154 212 186
rect 180 84 212 116
rect 180 14 212 46
<< poly >>
rect 68 200 158 236
rect 68 -36 158 0
<< metal1 >>
rect 14 186 46 200
rect 14 116 46 154
rect 14 46 46 84
rect 14 0 46 14
rect 180 186 212 200
rect 180 116 212 154
rect 180 46 212 84
rect 180 0 212 14
<< labels >>
flabel comment s 113 100 113 100 0 FreeSans 200 90 0 0 nmosHV
<< properties >>
string GDS_END 19168
string GDS_FILE custom_io/gds/sg13cmos5l_IOPadSingle2Diff.uniq.gds
string GDS_START 17932
<< end >>

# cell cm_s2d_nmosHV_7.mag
magic
tech ihp-sg13cmos5l
<< pwell >>
rect -13 -13 681 253
<< hvnmos >>
rect 34 0 634 240
<< hvndiff >>
rect 0 233 34 240
rect 0 217 7 233
rect 23 217 34 233
rect 0 198 34 217
rect 0 182 7 198
rect 23 182 34 198
rect 0 163 34 182
rect 0 147 7 163
rect 23 147 34 163
rect 0 128 34 147
rect 0 112 7 128
rect 23 112 34 128
rect 0 93 34 112
rect 0 77 7 93
rect 23 77 34 93
rect 0 58 34 77
rect 0 42 7 58
rect 23 42 34 58
rect 0 23 34 42
rect 0 7 7 23
rect 23 7 34 23
rect 0 0 34 7
rect 634 233 668 240
rect 634 217 645 233
rect 661 217 668 233
rect 634 198 668 217
rect 634 182 645 198
rect 661 182 668 198
rect 634 163 668 182
rect 634 147 645 163
rect 661 147 668 163
rect 634 128 668 147
rect 634 112 645 128
rect 661 112 668 128
rect 634 93 668 112
rect 634 77 645 93
rect 661 77 668 93
rect 634 58 668 77
rect 634 42 645 58
rect 661 42 668 58
rect 634 23 668 42
rect 634 7 645 23
rect 661 7 668 23
rect 634 0 668 7
<< hvndiffc >>
rect 7 217 23 233
rect 7 182 23 198
rect 7 147 23 163
rect 7 112 23 128
rect 7 77 23 93
rect 7 42 23 58
rect 7 7 23 23
rect 645 217 661 233
rect 645 182 661 198
rect 645 147 661 163
rect 645 112 661 128
rect 645 77 661 93
rect 645 42 661 58
rect 645 7 661 23
<< poly >>
rect 34 240 634 258
rect 34 -18 634 0
<< metal1 >>
rect 7 233 23 240
rect 7 198 23 217
rect 7 163 23 182
rect 7 128 23 147
rect 7 93 23 112
rect 7 58 23 77
rect 7 23 23 42
rect 7 0 23 7
rect 645 233 661 240
rect 645 198 661 217
rect 645 163 661 182
rect 645 128 661 147
rect 645 93 661 112
rect 645 58 661 77
rect 645 23 661 42
rect 645 0 661 7
<< labels >>
flabel comment s 334 120 334 120 0 FreeSans 100 90 0 0 nmosHV
<< properties >>
string GDS_END 27956
string GDS_FILE custom_io/gds/sg13cmos5l_IOPadSingle2Diff.uniq.gds
string GDS_START 26208
<< end >>
